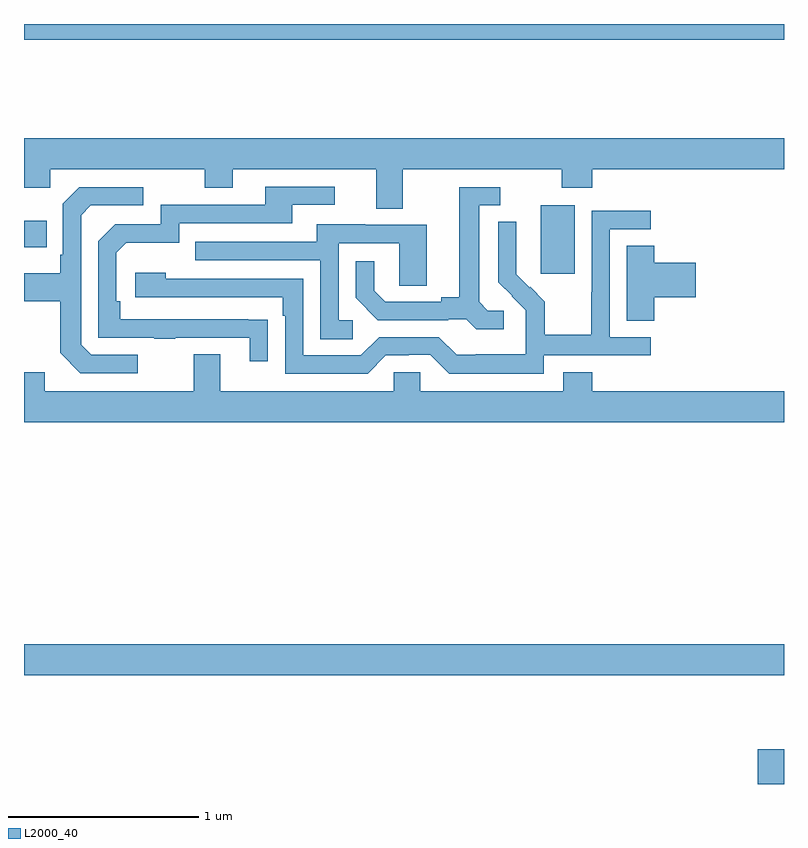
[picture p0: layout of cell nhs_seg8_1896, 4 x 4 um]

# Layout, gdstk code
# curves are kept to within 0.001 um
import gdstk
lib = gdstk.Library(unit=1e-6, precision=1e-09)
def R(c, l, rs):  # rectangles x0, y0, x1, y1
    for r in rs: c.add(gdstk.rectangle(r[:2], r[2:], *l))
def P(c, l, *ps):  # polygons
    for p in ps: c.add(gdstk.Polygon(p, *l))
L2000_40 = (2000, 40)

nhs_seg8_1896 = lib.new_cell('nhs_seg8_1896')
R(nhs_seg8_1896, L2000_40, [(234.863,1143.9,235,1144.084), (231,1144.472,235,1144.636), (233.72,1146.585,233.899,1146.946), (231,1146.725,231.119,1146.865), (231,1147.816,235,1147.9)])
P(nhs_seg8_1896, L2000_40, [(232.993,1147.136),(233.83,1147.136),(233.83,1147.037),(233.99,1147.037),(233.99,1147.136),(235,1147.136),(235,1147.3),(231,1147.3),(231,1147.037),(231.138,1147.037),(231.138,1147.136),(231.952,1147.136),(231.952,1147.037),(232.099,1147.037),(232.099,1147.136),(232.853,1147.136),(232.853,1146.928),(232.993,1146.928)],
  [(232.283,1146.344),(231.506,1146.345),(231.506,1146.442),(231.486,1146.442),(231.486,1146.696),(231.539,1146.749),(231.816,1146.749),(231.816,1146.852),(232.411,1146.852),(232.411,1146.948),(232.636,1146.948),(232.636,1147.044),(232.271,1147.044),(232.271,1146.948),(231.72,1146.948),(231.72,1146.846),(231.48,1146.846),(231.39,1146.756),(231.39,1146.249),(231.685,1146.249),(231.685,1146.244),(231.797,1146.244),(231.797,1146.249),(232.187,1146.249),(232.187,1146.126),(232.283,1146.126)],
  [(231.598,1146.159),(231.354,1146.159),(231.3,1146.213),(231.3,1146.894),(231.351,1146.945),(231.628,1146.945),(231.628,1147.041),(231.291,1147.041),(231.204,1146.954),(231.204,1146.685),(231.192,1146.685),(231.192,1146.589),(231,1146.589),(231,1146.442),(231.192,1146.442),(231.192,1146.169),(231.297,1146.063),(231.598,1146.063)],
  [(233.524,1146.39),(233.442,1146.39),(233.395,1146.437),(233.395,1146.945),(233.506,1146.945),(233.506,1147.041),(233.291,1147.041),(233.291,1146.461),(233.195,1146.461),(233.195,1146.438),(232.9,1146.438),(232.843,1146.495),(232.843,1146.652),(232.746,1146.652),(232.746,1146.458),(232.862,1146.342),(233.234,1146.342),(233.234,1146.345),(233.328,1146.345),(233.38,1146.293),(233.524,1146.293)],
  [(233.736,1146.156),(234.298,1146.156),(234.298,1146.252),(234.084,1146.252),(234.084,1146.819),(234.298,1146.819),(234.298,1146.918),(233.988,1146.918),(233.988,1146.488),(233.986,1146.488),(233.986,1146.265),(233.741,1146.265),(233.741,1146.439),(233.664,1146.516),(233.661,1146.513),(233.591,1146.584),(233.592,1146.86),(233.496,1146.86),(233.496,1146.542),(233.642,1146.394),(233.642,1146.297),(233.64,1146.297),(233.64,1146.163),(233.377,1146.163),(233.377,1146.159),(233.277,1146.159),(233.184,1146.252),(232.869,1146.252),(232.773,1146.156),(232.47,1146.156),(232.47,1146.558),(231.746,1146.558),(231.746,1146.592),(231.585,1146.592),(231.585,1146.462),(232.361,1146.462),(232.361,1146.365),(232.374,1146.365),(232.374,1146.06),(232.809,1146.06),(232.905,1146.156),(233.024,1146.156),(233.024,1146.159),(233.139,1146.159),(233.239,1146.059),(233.736,1146.059)],
  [(232.729,1146.342),(232.656,1146.342),(232.656,1146.747),(232.974,1146.747),(232.974,1146.523),(233.119,1146.523),(233.119,1146.843),(232.795,1146.843),(232.795,1146.847),(232.541,1146.847),(232.541,1146.753),(231.901,1146.753),(231.901,1146.657),(232.56,1146.657),(232.56,1146.241),(232.729,1146.241)],
  [(234.317,1146.461),(234.535,1146.461),(234.535,1146.644),(234.317,1146.644),(234.317,1146.734),(234.173,1146.734),(234.173,1146.337),(234.317,1146.337)],
  [(235,1145.968),(233.99,1145.968),(233.99,1146.067),(233.837,1146.067),(233.837,1145.968),(233.085,1145.968),(233.085,1146.066),(232.947,1146.066),(232.947,1145.968),(232.033,1145.968),(232.033,1146.163),(231.893,1146.163),(231.893,1145.968),(231.109,1145.968),(231.109,1146.067),(231,1146.067),(231,1145.804),(235,1145.804)])

lib.write_gds('nhs_seg8_1896.gds')
